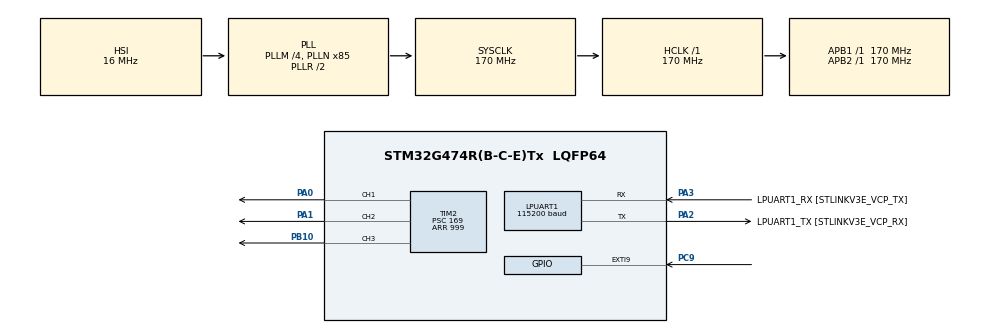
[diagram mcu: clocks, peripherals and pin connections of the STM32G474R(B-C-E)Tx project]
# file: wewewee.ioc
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LPUART1.BaudRate=115200
Mcu.Family=STM32G4
Mcu.Name=STM32G474R(B-C-E)Tx
Mcu.Package=LQFP64
NVIC.EXTI9_5_IRQn=true\:0\:0\:false\:false\:true\:true\:true\:true
NVIC.LPUART1_IRQn=true\:0\:0\:false\:false\:true\:true\:true\:true
NVIC.PriorityGroup=NVIC_PRIORITYGROUP_4
NVIC.TIM2_IRQn=true\:0\:0\:false\:false\:true\:true\:true\:true
PA0.Signal=S_TIM2_CH1
PA1.Signal=S_TIM2_CH2
PA13.GPIO_Label=T_SWDIO
PA13.Signal=SYS_JTMS-SWDIO
PA14.GPIO_Label=T_SWCLK
PA14.Signal=SYS_JTCK-SWCLK
PA2.GPIO_Label=LPUART1_TX [STLINKV3E_VCP_RX]
PA2.Mode=Asynchronous
PA2.Signal=LPUART1_TX
PA3.GPIO_Label=LPUART1_RX [STLINKV3E_VCP_TX]
PA3.Mode=Asynchronous
PA3.Signal=LPUART1_RX
PB10.Signal=S_TIM2_CH3
PB3.GPIO_Label=T_SWO
PB3.Signal=SYS_JTDO-SWO
PC14-OSC32_IN.GPIO_Label=RCC_OSC32_IN
PC14-OSC32_IN.Signal=RCC_OSC32_IN
PC15-OSC32_OUT.GPIO_Label=RCC_OSC32_OUT
PC15-OSC32_OUT.Signal=RCC_OSC32_OUT
PC9.GPIO_ModeDefaultEXTI=GPIO_MODE_IT_FALLING
PC9.GPIO_PuPd=GPIO_PULLUP
PC9.Signal=GPXTI9
PF0-OSC_IN.GPIO_Label=RCC_OSC_IN
PF0-OSC_IN.Signal=RCC_OSC_IN
PF1-OSC_OUT.GPIO_Label=RCC_OSC_OUT
PF1-OSC_OUT.Signal=RCC_OSC_OUT
ProjectManager.HeapSize=0x200
ProjectManager.StackSize=0x400
ProjectManager.TargetToolchain=STM32CubeIDE
RCC.ADC12Freq_Value=170000000
RCC.ADC345Freq_Value=170000000
RCC.AHBFreq_Value=170000000
RCC.APB1Freq_Value=170000000
RCC.APB1TimFreq_Value=170000000
RCC.APB2Freq_Value=170000000
RCC.APB2TimFreq_Value=170000000
RCC.CortexFreq_Value=170000000
RCC.EXTERNAL_CLOCK_VALUE=12288000
RCC.HCLKFreq_Value=170000000
RCC.HSE_VALUE=24000000
RCC.HSI48_VALUE=48000000
RCC.HSI_VALUE=16000000
RCC.LSE_VALUE=32768
RCC.PLLM=RCC_PLLM_DIV4
RCC.PLLN=85
RCC.RTCClockSelection=RCC_RTCCLKSOURCE_LSE
RCC.SYSCLKFreq_VALUE=170000000
RCC.SYSCLKSource=RCC_SYSCLKSOURCE_PLLCLK
RCC.USBFreq_Value=170000000
RCC.VCOOutputFreq_Value=340000000
SH.S_TIM2_CH1.0=TIM2_CH1,PWM Generation1 CH1
SH.S_TIM2_CH2.0=TIM2_CH2,PWM Generation2 CH2
SH.S_TIM2_CH3.0=TIM2_CH3,PWM Generation3 CH3
TIM2.Channel-PWM\ Generation1\ CH1=TIM_CHANNEL_1
TIM2.Channel-PWM\ Generation2\ CH2=TIM_CHANNEL_2
TIM2.Channel-PWM\ Generation3\ CH3=TIM_CHANNEL_3
TIM2.PeriodNoDither=999
TIM2.Prescaler=169
VP_SYS_VS_DBSignals.Mode=DisableDeadBatterySignals
board=NUCLEO-G474RE

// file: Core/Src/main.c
/* USER CODE BEGIN Header */
/**
  ******************************************************************************
  * @file           : main.c
  * @brief          : Main program body
  ******************************************************************************
  * @attention
  *
  * Copyright (c) 2026 STMicroelectronics.
  * All rights reserved.
  *
  * This software is licensed under terms that can be found in the LICENSE file
  * in the root directory of this software component.
  * If no LICENSE file comes with this software, it is provided AS-IS.
  *
  ******************************************************************************
  */
/* USER CODE END Header */
#include "main.h"
#include "stdio.h"
#include "string.h"
#include "stdlib.h"

UART_HandleTypeDef hlpuart1;

TIM_HandleTypeDef htim2;

/* USER CODE BEGIN PV */
extern UART_HandleTypeDef hlpuart1;

uint8_t rx_data;
char uart_rx_buf[20];
uint8_t rx_index = 0;

uint32_t total_time_ms = 60000;      // 預設 1 分鐘 (60000ms)
volatile uint8_t is_running = 0;     // 0 = 停止/暗, 1 = 運行中
volatile uint8_t is_paused = 0;      // 0 = 運行, 1 = 暫停
int32_t current_brightness = 0;      // 初始亮度設為 0 (暗)
uint32_t last_interrupt_time = 0;    // 按鈕防彈跳時間
/* USER CODE END PV */

void SystemClock_Config(void);
static void MX_GPIO_Init(void);
static void MX_LPUART1_UART_Init(void);
static void MX_TIM2_Init(void);

int main(void)
{

  /* MCU Configuration--------------------------------------------------------*/

  /* Reset of all peripherals, Initializes the Flash interface and the Systick. */
  HAL_Init();

  /* Configure the system clock */
  SystemClock_Config();

  /* Initialize all configured peripherals */
  MX_GPIO_Init();
  MX_LPUART1_UART_Init();
  MX_TIM2_Init();
  /* USER CODE BEGIN 2 */
    HAL_TIM_PWM_Start(&htim2, TIM_CHANNEL_1);
    HAL_TIM_PWM_Start(&htim2, TIM_CHANNEL_2);
    HAL_TIM_PWM_Start(&htim2, TIM_CHANNEL_3);

    // 啟動 LPUART 接收中斷（只抓 1 個字元）
    HAL_UART_Receive_IT(&hlpuart1, &rx_data, 1);
    /* USER CODE END 2 */

    /* Infinite loop */
      /* USER CODE BEGIN WHILE */
      uint32_t step_interval = 10;          // 每 10ms 更新一次
      uint8_t current_led_phase = 0;        // 0: 第一顆燈滅, 1: 第二顆燈滅, 2: 第三顆燈滅
      int32_t led_brightness = 1000;        // 單顆燈的當前亮度

      uint8_t last_paused_state = 0;        // 用來追蹤上一次的暫停狀態

      while (1)
      {
          // 1. 隨時偵測暫停狀態是否有改變，若有改變則透過 UART 回傳
          if (is_paused != last_paused_state) {
              last_paused_state = is_paused;
              if (is_paused) {
                  char *pause_msg = "Paused\r\n";
                  HAL_UART_Transmit(&hlpuart1, (uint8_t*)pause_msg, strlen(pause_msg), HAL_MAX_DELAY);
              } else {
                  char *resume_msg = "Resumed\r\n";
                  HAL_UART_Transmit(&hlpuart1, (uint8_t*)resume_msg, strlen(resume_msg), HAL_MAX_DELAY);
              }
          }

          // 2. 收到 start 且未暫停時執行漸暗邏輯
          if (is_running && !is_paused) {
              uint32_t single_led_time = total_time_ms / 3;
              uint32_t total_steps = single_led_time / step_interval;
              if (total_steps == 0) total_steps = 1;

              float decrement = 1000.0f / (float)total_steps;

              // 依照目前的階段（Phase）控制對應的燈漸暗
              if (current_led_phase == 0) {
                  __HAL_TIM_SET_COMPARE(&htim2, TIM_CHANNEL_2, 1000);
                  __HAL_TIM_SET_COMPARE(&htim2, TIM_CHANNEL_3, 1000);

                  if (led_brightness > 0) {
                      led_brightness -= decrement;
                      if (led_brightness < 0) led_brightness = 0;
                      __HAL_TIM_SET_COMPARE(&htim2, TIM_CHANNEL_1, (uint32_t)led_brightness);
                  } else {
                      __HAL_TIM_SET_COMPARE(&htim2, TIM_CHANNEL_1, 0);
                      current_led_phase = 1;
                      led_brightness = 1000;
                  }
              }
              else if (current_led_phase == 1) {
                  __HAL_TIM_SET_COMPARE(&htim2, TIM_CHANNEL_1, 0);
                  __HAL_TIM_SET_COMPARE(&htim2, TIM_CHANNEL_3, 1000);

                  if (led_brightness > 0) {
                      led_brightness -= decrement;
                      if (led_brightness < 0) led_brightness = 0;
                      __HAL_TIM_SET_COMPARE(&htim2, TIM_CHANNEL_2, (uint32_t)led_brightness);
                  } else {
                      __HAL_TIM_SET_COMPARE(&htim2, TIM_CHANNEL_2, 0);
                      current_led_phase = 2;
                      led_brightness = 1000;
                  }
              }
              else if (current_led_phase == 2) {
                  __HAL_TIM_SET_COMPARE(&htim2, TIM_CHANNEL_1, 0);
                  __HAL_TIM_SET_COMPARE(&htim2, TIM_CHANNEL_2, 0);

                  if (led_brightness > 0) {
                      led_brightness -= decrement;
                      if (led_brightness < 0) led_brightness = 0;
                      __HAL_TIM_SET_COMPARE(&htim2, TIM_CHANNEL_3, (uint32_t)led_brightness);
                  } else {
                      __HAL_TIM_SET_COMPARE(&htim2, TIM_CHANNEL_3, 0);
                      is_running = 0;
                      current_led_phase = 0;

                      char *done_msg = "All LEDs Fade Complete. All OFF.\r\n";
                      HAL_UART_Transmit(&hlpuart1, (uint8_t*)done_msg, strlen(done_msg), HAL_MAX_DELAY);
                  }
              }

              HAL_Delay(step_interval);
          }
          else {
              // 如果沒有在運行，強制保持三顆燈全暗 (0)
              if (!is_running) {
                  current_led_phase = 0;
                  led_brightness = 1000;
                  last_paused_state = 0; // 重置暫停追蹤
                  __HAL_TIM_SET_COMPARE(&htim2, TIM_CHANNEL_1, 0);
                  __HAL_TIM_SET_COMPARE(&htim2, TIM_CHANNEL_2, 0);
                  __HAL_TIM_SET_COMPARE(&htim2, TIM_CHANNEL_3, 0);
              }
              HAL_Delay(50);
          }
        /* USER CODE END WHILE */
      }
      /* USER CODE END 3 */
  /* USER CODE END 3 */
}

void SystemClock_Config(void)
{
  RCC_OscInitTypeDef RCC_OscInitStruct = {0};
  RCC_ClkInitTypeDef RCC_ClkInitStruct = {0};

  /** Configure the main internal regulator output voltage
  */
  HAL_PWREx_ControlVoltageScaling(PWR_REGULATOR_VOLTAGE_SCALE1_BOOST);

  /** Initializes the RCC Oscillators according to the specified parameters
  * in the RCC_OscInitTypeDef structure.
  */
  RCC_OscInitStruct.OscillatorType = RCC_OSCILLATORTYPE_HSI;
  RCC_OscInitStruct.HSIState = RCC_HSI_ON;
  RCC_OscInitStruct.HSICalibrationValue = RCC_HSICALIBRATION_DEFAULT;
  RCC_OscInitStruct.PLL.PLLState = RCC_PLL_ON;
  RCC_OscInitStruct.PLL.PLLSource = RCC_PLLSOURCE_HSI;
  RCC_OscInitStruct.PLL.PLLM = RCC_PLLM_DIV4;
  RCC_OscInitStruct.PLL.PLLN = 85;
  RCC_OscInitStruct.PLL.PLLP = RCC_PLLP_DIV2;
  RCC_OscInitStruct.PLL.PLLQ = RCC_PLLQ_DIV2;
  RCC_OscInitStruct.PLL.PLLR = RCC_PLLR_DIV2;
  if (HAL_RCC_OscConfig(&RCC_OscInitStruct) != HAL_OK)
  {
    Error_Handler();
  }

  /** Initializes the CPU, AHB and APB buses clocks
  */
  RCC_ClkInitStruct.ClockType = RCC_CLOCKTYPE_HCLK|RCC_CLOCKTYPE_SYSCLK
                              |RCC_CLOCKTYPE_PCLK1|RCC_CLOCKTYPE_PCLK2;
  RCC_ClkInitStruct.SYSCLKSource = RCC_SYSCLKSOURCE_PLLCLK;
  RCC_ClkInitStruct.AHBCLKDivider = RCC_SYSCLK_DIV1;
  RCC_ClkInitStruct.APB1CLKDivider = RCC_HCLK_DIV1;
  RCC_ClkInitStruct.APB2CLKDivider = RCC_HCLK_DIV1;

  if (HAL_RCC_ClockConfig(&RCC_ClkInitStruct, FLASH_LATENCY_4) != HAL_OK)
  {
    Error_Handler();
  }
}

static void MX_LPUART1_UART_Init(void)
{

  hlpuart1.Instance = LPUART1;
  hlpuart1.Init.BaudRate = 115200;
  hlpuart1.Init.WordLength = UART_WORDLENGTH_8B;
  hlpuart1.Init.StopBits = UART_STOPBITS_1;
  hlpuart1.Init.Parity = UART_PARITY_NONE;
  hlpuart1.Init.Mode = UART_MODE_TX_RX;
  hlpuart1.Init.HwFlowCtl = UART_HWCONTROL_NONE;
  hlpuart1.Init.OneBitSampling = UART_ONE_BIT_SAMPLE_DISABLE;
  hlpuart1.Init.ClockPrescaler = UART_PRESCALER_DIV1;
  hlpuart1.AdvancedInit.AdvFeatureInit = UART_ADVFEATURE_NO_INIT;
  if (HAL_UART_Init(&hlpuart1) != HAL_OK)
  {
    Error_Handler();
  }
  if (HAL_UARTEx_SetTxFifoThreshold(&hlpuart1, UART_TXFIFO_THRESHOLD_1_8) != HAL_OK)
  {
    Error_Handler();
  }
  if (HAL_UARTEx_SetRxFifoThreshold(&hlpuart1, UART_RXFIFO_THRESHOLD_1_8) != HAL_OK)
  {
    Error_Handler();
  }
  if (HAL_UARTEx_DisableFifoMode(&hlpuart1) != HAL_OK)
  {
    Error_Handler();
  }

}

static void MX_TIM2_Init(void)
{

  TIM_MasterConfigTypeDef sMasterConfig = {0};
  TIM_OC_InitTypeDef sConfigOC = {0};

  htim2.Instance = TIM2;
  htim2.Init.Prescaler = 169;
  htim2.Init.CounterMode = TIM_COUNTERMODE_UP;
  htim2.Init.Period = 999;
  htim2.Init.ClockDivision = TIM_CLOCKDIVISION_DIV1;
  htim2.Init.AutoReloadPreload = TIM_AUTORELOAD_PRELOAD_DISABLE;
  if (HAL_TIM_PWM_Init(&htim2) != HAL_OK)
  {
    Error_Handler();
  }
  sMasterConfig.MasterOutputTrigger = TIM_TRGO_RESET;
  sMasterConfig.MasterSlaveMode = TIM_MASTERSLAVEMODE_DISABLE;
  if (HAL_TIMEx_MasterConfigSynchronization(&htim2, &sMasterConfig) != HAL_OK)
  {
    Error_Handler();
  }
  sConfigOC.OCMode = TIM_OCMODE_PWM1;
  sConfigOC.Pulse = 0;
  sConfigOC.OCPolarity = TIM_OCPOLARITY_HIGH;
  sConfigOC.OCFastMode = TIM_OCFAST_DISABLE;
  if (HAL_TIM_PWM_ConfigChannel(&htim2, &sConfigOC, TIM_CHANNEL_1) != HAL_OK)
  {
    Error_Handler();
  }
  if (HAL_TIM_PWM_ConfigChannel(&htim2, &sConfigOC, TIM_CHANNEL_2) != HAL_OK)
  {
    Error_Handler();
  }
  if (HAL_TIM_PWM_ConfigChannel(&htim2, &sConfigOC, TIM_CHANNEL_3) != HAL_OK)
  {
    Error_Handler();
  }
  HAL_TIM_MspPostInit(&htim2);

}

static void MX_GPIO_Init(void)
{
  GPIO_InitTypeDef GPIO_InitStruct = {0};

  /* GPIO Ports Clock Enable */
  __HAL_RCC_GPIOC_CLK_ENABLE();
  __HAL_RCC_GPIOF_CLK_ENABLE();
  __HAL_RCC_GPIOA_CLK_ENABLE();
  __HAL_RCC_GPIOB_CLK_ENABLE();

  /*Configure GPIO pin : PC9 */
  GPIO_InitStruct.Pin = GPIO_PIN_9;
  GPIO_InitStruct.Mode = GPIO_MODE_IT_FALLING;
  GPIO_InitStruct.Pull = GPIO_PULLUP;
  HAL_GPIO_Init(GPIOC, &GPIO_InitStruct);

  /* EXTI interrupt init*/
  HAL_NVIC_SetPriority(EXTI9_5_IRQn, 0, 0);
  HAL_NVIC_EnableIRQ(EXTI9_5_IRQn);

}

/* USER CODE BEGIN 4 */
void HAL_UART_RxCpltCallback(UART_HandleTypeDef *huart) {
    if (huart->Instance == LPUART1) {
        if (rx_data == '\n' || rx_data == '\r') {
            uart_rx_buf[rx_index] = '\0'; // 字串結尾

            // 1. 檢查是否為設定時間指令 "set <分鐘>"
            if (strncmp((char *)uart_rx_buf, "set ", 4) == 0) {
                unsigned int minutes = 0;
                if (sscanf((char *)uart_rx_buf, "set %u", &minutes) == 1) {
                    total_time_ms = (uint32_t)minutes * 60000; // 分鐘轉毫秒
                    char resp_msg[80];
                    sprintf(resp_msg, "Time Set: %u minutes (%lu ms)\r\n", minutes, total_time_ms);
                    HAL_UART_Transmit(&hlpuart1, (uint8_t*)resp_msg, strlen(resp_msg), HAL_MAX_DELAY);
                }
            }
            // 2. 檢查是否為開始指令 "start"
            else if (strcmp((char *)uart_rx_buf, "start") == 0) {
                is_running = 1;              // 啟動運行
                is_paused = 0;               // 解除暫停
                current_brightness = 1000;   // 開始時瞬間切到最亮 (1000)

                char *resp_msg = "Started! LED fading down...\r\n";
                HAL_UART_Transmit(&hlpuart1, (uint8_t*)resp_msg, strlen(resp_msg), HAL_MAX_DELAY);
            }
            else {
                char *err_msg = "Unknown command! Use 'set <min>' or 'start'\r\n";
                HAL_UART_Transmit(&hlpuart1, (uint8_t*)err_msg, strlen(err_msg), HAL_MAX_DELAY);
            }

            // 清空緩存
            rx_index = 0;
            memset((char*)uart_rx_buf, 0, sizeof(uart_rx_buf));
        } else {
            if (rx_index < sizeof(uart_rx_buf) - 1) {
                uart_rx_buf[rx_index++] = rx_data;
            }
        }

        HAL_UART_Receive_IT(&hlpuart1, &rx_data, 1);
    }
}

// PC9 按鈕消彈跳中斷
void HAL_GPIO_EXTI_Callback(uint16_t GPIO_Pin) {
    if (GPIO_Pin == GPIO_PIN_9) {
        uint32_t current_time = HAL_GetTick();
        if ((current_time - last_interrupt_time) > 200) {
            is_paused = !is_paused;
            last_interrupt_time = current_time;
        }
    }
}
/* USER CODE END 4 */

void Error_Handler(void)
{
  __disable_irq();
  while (1)
  {
  }
}
